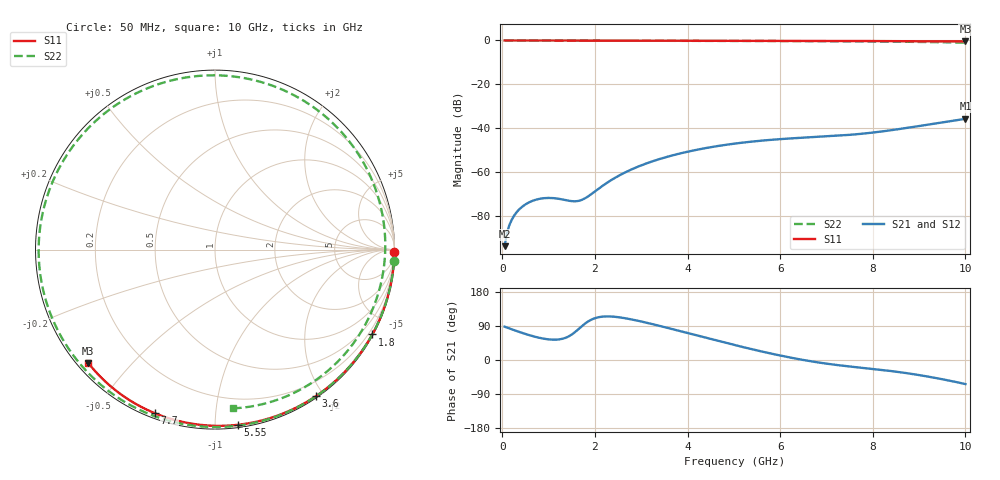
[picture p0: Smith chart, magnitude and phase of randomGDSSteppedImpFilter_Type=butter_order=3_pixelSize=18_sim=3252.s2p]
! freq	dB(S11)	phase(S11)	dB(S12)	phase(S12)
!  dB(S21)	phase(S21)	dB(S22)	phase(S22)
!S-par simulation data
#  GHz  S  DB  R 50
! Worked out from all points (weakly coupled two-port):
!   200 points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, 50 MHz to 10 GHz, reference 50 ohm
!   highest |S21| = -35.75 dB at 10 GHz (marker M1); lowest = -93.8 dB at 50 MHz (marker M2)
!   lowest |S11| = -0.5 dB at 10 GHz (marker M3), VSWR 37.11, Z = 1.54 - j19.1 ohm
!   |S11| at or under -10 dB: nowhere
!   |S22| runs from -1.0 to 0.0 dB; largest |S21 - S12| = 0
!   S11 on the Smith chart (normalised r, x): 50 MHz: open; 1.8 GHz: 0.03, -3.96; 3.6 GHz: 0.02, -1.91; 5.55 GHz: 0.02, -1.14; 7.7 GHz: 0.02, -0.70; 10 GHz: 0.03, -0.38
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0.05  -0.00 -0.8  -93.83 88.0  -93.83 88.0  -0.00 -3.7
0.25  -0.01 -4.0  -80.08 79.0  -80.08 79.0  -0.02 -18.4
0.45  -0.01 -7.2  -75.51 70.7  -75.51 70.7  -0.04 -32.8
0.9  -0.02 -14.3  -71.94 56.2  -71.94 56.2  -0.08 -63.6
1.3  -0.03 -20.6  -72.53 56.1  -72.53 56.1  -0.10 -88.3
1.55  -0.03 -24.5  -73.36 71.6  -73.36 71.6  -0.11 -102.4
1.75  -0.04 -27.6  -72.40 92.4  -72.40 92.4  -0.11 -113.0
1.8  -0.04 -28.3  -71.83 97.2  -71.83 97.2  -0.12 -115.6
2.2  -0.04 -34.5  -65.81 114.8  -65.81 114.8  -0.13 -134.9
2.6  -0.05 -40.5  -60.75 111.3  -60.75 111.3  -0.14 -152.6
3.4  -0.07 -52.4  -54.06 89.9  -54.06 89.9  -0.16 175.4
3.6  -0.07 -55.3  -52.84 83.7  -52.84 83.7  -0.16 167.9
4.3  -0.09 -65.4  -49.45 61.6  -49.45 61.6  -0.19 142.0
5.05  -0.12 -75.8  -46.96 38.4  -46.96 38.4  -0.22 114.5
5.55  -0.14 -82.6  -45.80 23.9  -45.80 23.9  -0.25 95.8
6.1  -0.16 -89.8  -44.86 9.3  -44.86 9.3  -0.28 74.6
6.7  -0.19 -97.6  -44.11 -4.1  -44.11 -4.1  -0.32 50.9
7.2  -0.22 -104.0  -43.50 -12.8  -43.50 -12.8  -0.37 30.7
7.7  -0.25 -110.2  -42.68 -19.8  -42.68 -19.8  -0.42 10.3
8.35  -0.30 -118.2  -41.08 -28.5  -41.08 -28.5  -0.53 -16.3
9.25  -0.39 -129.1  -38.21 -45.0  -38.21 -45.0  -0.74 -52.9
10  -0.47 -138.1  -35.75 -63.5  -35.75 -63.5  -1.01 -83.4
